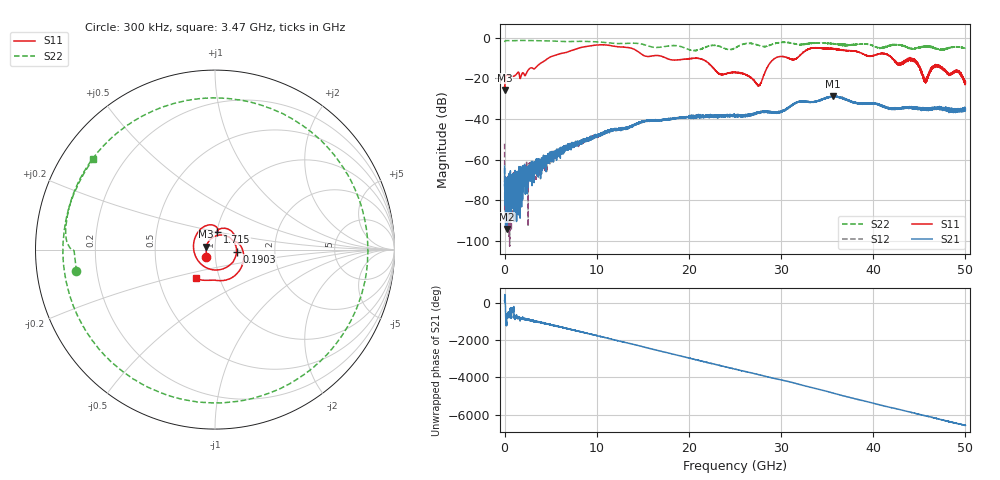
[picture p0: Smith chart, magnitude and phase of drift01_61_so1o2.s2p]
!Created with skrf (http://scikit-rf.org).
# Hz S RI R 50.0
!freq ReS11 ImS11 ReS21 ImS21 ReS12 ImS12 ReS22 ImS22
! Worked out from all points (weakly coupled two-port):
!   10001 points, 300 kHz to 50 GHz, reference 50 ohm
!   highest |S21| = -28.67 dB at 35.63 GHz (marker M1); lowest = -94.1 dB at 240.3 MHz (marker M2)
!   lowest |S11| = -25.8 dB at 5.3 MHz (marker M3), VSWR 1.11, Z = 45.3 + j1.44 ohm
!   |S11| at or under -10 dB: start of sweep to 4.768 GHz; 17.52 GHz to 29.39 GHz (11.87 GHz wide, 50.6 % of centre); 43.99 GHz to end of sweep (the widest 3 of 9)
!   |S22| runs from -6.4 to -1.4 dB; largest |S21 - S12| = 0.0045
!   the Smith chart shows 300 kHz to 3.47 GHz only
!   S11 on the Smith chart (normalised r, x): 300 kHz: 0.91, -0.07; 190.3 MHz: 1.27, -0.03; 1.715 GHz: 1.00, +0.20; 3.47 GHz: 0.77, -0.26
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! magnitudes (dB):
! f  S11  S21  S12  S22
! 300 kHz  -24.0  -63.2  -52.1  -2.1
! 5.3 MHz  -25.8  -73.1  -79.5  -2.1
! 190.3 MHz  -18.3  -75.2  -75.3  -1.4
! 240.3 MHz  -18.3  -94.1  -70.9  -1.4
! 1.715 GHz  -19.9  -69.1  -76.9  -1.4
! 3.47 GHz  -14.3  -65.0  -64.9  -1.5
! 8.335 GHz  -4.8  -50.6  -51.6  -1.8
! 16.67 GHz  -8.7  -40.6  -40.8  -4.8
! 21.2 GHz  -10.3  -37.8  -38.4  -5.8
! 23.38 GHz  -18.1  -38.9  -38.6  -4.3
! 25 GHz  -17.0  -38.1  -38.2  -5.1
! 27.59 GHz  -23.3  -37.0  -36.8  -3.7
! 29.28 GHz  -10.3  -36.9  -36.5  -2.9
! 31.48 GHz  -10.7  -32.3  -32.2  -3.0
! 33.34 GHz  -5.1  -31.7  -31.7  -2.6
! 35.63 GHz  -5.5  -28.7  -28.9  -2.9
! 41.67 GHz  -8.7  -34.6  -34.7  -3.9
! 42.79 GHz  -13.0  -34.8  -34.7  -3.5
! 44.48 GHz  -11.1  -34.8  -34.5  -5.3
! 45.63 GHz  -21.1  -34.6  -35.3  -4.4
! 46.94 GHz  -13.3  -34.6  -34.7  -5.5
! 50 GHz  -21.8  -35.1  -35.5  -5.3
